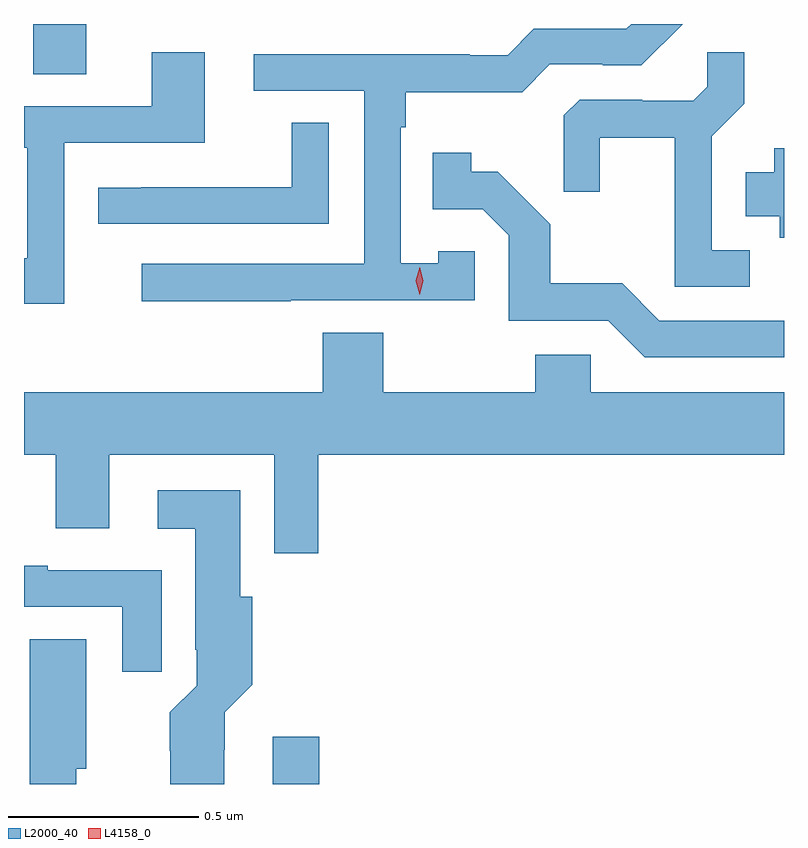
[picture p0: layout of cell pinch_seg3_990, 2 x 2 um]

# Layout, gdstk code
import gdstk
lib = gdstk.Library(unit=1e-6, precision=1e-09)
def R(c, l, rs):  # rectangles x0, y0, x1, y1
    for r in rs: c.add(gdstk.rectangle(r[:2], r[2:], *l))
def P(c, l, *ps):  # polygons
    for p in ps: c.add(gdstk.Polygon(p, *l))
L2000_40 = (2000, 40)
L4158_0 = (4158, 0)

pinch_seg3_990 = lib.new_cell('pinch_seg3_990')
R(pinch_seg3_990, L2000_40, [(454.823,744.005,454.946,744.13), (454.193,745.873,454.333,746.005)])
P(pinch_seg3_990, L2000_40, [(454.871,745.278),(455.355,745.278),(455.355,745.407),(455.259,745.407),(455.259,745.375),(455.16,745.375),(455.16,745.733),(455.173,745.733),(455.173,745.826),(455.48,745.826),(455.553,745.899),(455.692,745.899),(455.692,745.896),(455.793,745.896),(455.902,746.005),(455.767,746.005),(455.754,745.992),(455.511,745.992),(455.442,745.923),(455.342,745.923),(455.342,745.926),(454.773,745.926),(454.773,745.83),(455.064,745.83),(455.064,745.374),(454.479,745.374),(454.479,745.276),(454.871,745.276)],
  [(456.079,745.41),(455.979,745.41),(455.979,745.709),(456.065,745.795),(456.065,745.931),(455.967,745.931),(455.967,745.84),(455.93,745.803),(455.796,745.803),(455.796,745.806),(455.631,745.806),(455.59,745.765),(455.59,745.563),(455.684,745.563),(455.684,745.706),(455.882,745.706),(455.882,745.314),(456.079,745.314)],
  [(454.275,745.692),(454.645,745.692),(454.645,745.931),(454.505,745.931),(454.505,745.788),(454.169,745.788),(454.169,745.68),(454.178,745.68),(454.178,745.389),(454.169,745.389),(454.169,745.269),(454.275,745.269)],
  [(454.971,745.745),(454.873,745.745),(454.873,745.575),(454.477,745.575),(454.477,745.574),(454.365,745.574),(454.365,745.479),(454.971,745.479)],
  [(456.169,745.678),(456.143,745.678),(456.143,745.615),(456.068,745.615),(456.068,745.499),(456.158,745.499),(456.158,745.442),(456.169,745.442)],
  [(456.169,745.224),(455.841,745.224),(455.743,745.323),(455.554,745.323),(455.554,745.478),(455.416,745.616),(455.346,745.616),(455.346,745.666),(455.245,745.666),(455.245,745.518),(455.376,745.518),(455.445,745.449),(455.445,745.224),(455.706,745.224),(455.802,745.128),(456.169,745.128)],
  [(454.943,744.872),(456.169,744.872),(456.169,745.036),(455.661,745.036),(455.661,745.134),(455.515,745.134),(455.515,745.036),(455.115,745.036),(455.115,745.193),(454.955,745.193),(454.955,745.036),(454.169,745.036),(454.169,744.872),(454.253,744.872),(454.253,744.678),(454.393,744.678),(454.393,744.872),(454.827,744.872),(454.827,744.612),(454.943,744.612)],
  [(454.696,744.095),(454.697,744.095),(454.697,744.194),(454.769,744.266),(454.769,744.498),(454.738,744.498),(454.738,744.778),(454.521,744.778),(454.521,744.677),(454.619,744.677),(454.619,744.358),(454.623,744.358),(454.623,744.264),(454.553,744.194),(454.553,744.092),(454.554,744.092),(454.554,744.005),(454.696,744.005)],
  [(454.531,744.567),(454.231,744.567),(454.231,744.58),(454.169,744.58),(454.169,744.471),(454.427,744.471),(454.427,744.3),(454.531,744.3)],
  [(454.306,744.045),(454.333,744.045),(454.333,744.386),(454.184,744.386),(454.184,744.005),(454.306,744.005)])
P(pinch_seg3_990, L4158_0, [(455.21,745.293),(455.21,745.293),(455.2,745.329),(455.21,745.365),(455.211,745.365),(455.211,745.365),(455.22,745.329),(455.21,745.293)])

lib.write_gds('pinch_seg3_990.gds')
